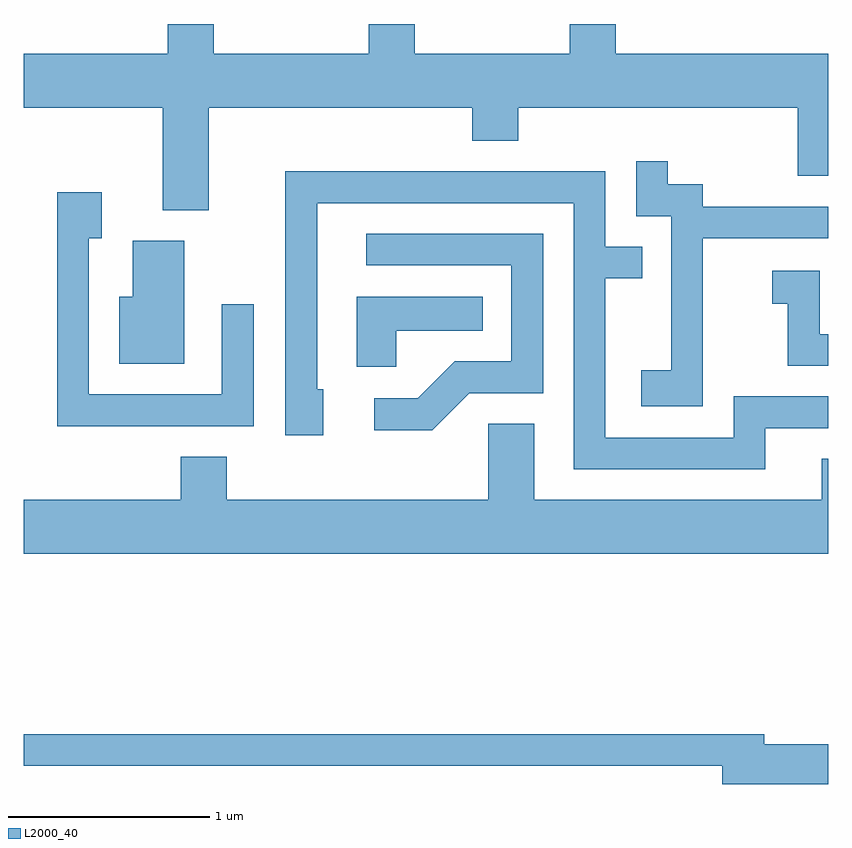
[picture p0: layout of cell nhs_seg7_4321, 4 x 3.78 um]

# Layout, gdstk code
import gdstk
lib = gdstk.Library(unit=1e-6, precision=1e-09)
def P(c, l, *ps):  # polygons
    for p in ps: c.add(gdstk.Polygon(p, *l))
L2000_40 = (2000, 40)

nhs_seg7_4321 = lib.new_cell('nhs_seg7_4321')
P(nhs_seg7_4321, L2000_40, [(318.529,1749.836),(319.841,1749.836),(319.841,1749.671),(320.069,1749.671),(320.069,1749.836),(321.461,1749.836),(321.461,1749.496),(321.611,1749.496),(321.611,1750.104),(320.554,1750.104),(320.554,1750.252),(320.326,1750.252),(320.326,1750.104),(319.554,1750.104),(319.554,1750.252),(319.326,1750.252),(319.326,1750.104),(318.554,1750.104),(318.554,1750.252),(318.326,1750.252),(318.326,1750.104),(317.611,1750.104),(317.611,1749.836),(318.301,1749.836),(318.301,1749.326),(318.529,1749.326)],
  [(320.989,1749.186),(321.611,1749.186),(321.611,1749.344),(320.989,1749.344),(320.989,1749.454),(320.814,1749.454),(320.814,1749.568),(320.656,1749.568),(320.656,1749.296),(320.831,1749.296),(320.831,1748.529),(320.681,1748.529),(320.681,1748.351),(320.989,1748.351)],
  [(321.299,1748.241),(321.611,1748.241),(321.611,1748.399),(321.141,1748.399),(321.141,1748.194),(320.504,1748.194),(320.504,1748.986),(320.688,1748.986),(320.688,1749.144),(320.504,1749.144),(320.504,1749.519),(318.911,1749.519),(318.911,1748.206),(319.099,1748.206),(319.099,1748.434),(319.069,1748.434),(319.069,1749.361),(320.346,1749.361),(320.346,1748.036),(321.299,1748.036)],
  [(318.754,1748.858),(318.596,1748.858),(318.596,1748.409),(317.934,1748.409),(317.934,1749.186),(317.999,1749.186),(317.999,1749.414),(317.776,1749.414),(317.776,1748.251),(318.754,1748.251)],
  [(319.827,1748.416),(320.194,1748.416),(320.194,1749.209),(319.313,1749.209),(319.313,1749.051),(320.036,1749.051),(320.036,1748.574),(319.754,1748.574),(319.569,1748.389),(319.353,1748.389),(319.353,1748.231),(319.642,1748.231)],
  [(318.409,1749.174),(318.151,1749.174),(318.151,1748.894),(318.086,1748.894),(318.086,1748.561),(318.409,1748.561)],
  [(321.611,1748.709),(321.569,1748.709),(321.569,1749.024),(321.333,1749.024),(321.333,1748.861),(321.411,1748.861),(321.411,1748.551),(321.611,1748.551)],
  [(319.464,1748.726),(319.893,1748.726),(319.893,1748.894),(319.266,1748.894),(319.266,1748.546),(319.464,1748.546)],
  [(321.611,1748.089),(321.581,1748.089),(321.581,1747.884),(320.149,1747.884),(320.149,1748.264),(319.921,1748.264),(319.921,1747.884),(318.619,1747.884),(318.619,1748.099),(318.391,1748.099),(318.391,1747.884),(317.611,1747.884),(317.611,1747.616),(321.611,1747.616)],
  [(321.611,1746.669),(321.294,1746.669),(321.294,1746.719),(317.611,1746.719),(317.611,1746.561),(321.086,1746.561),(321.086,1746.471),(321.611,1746.471)])

lib.write_gds('nhs_seg7_4321.gds')
